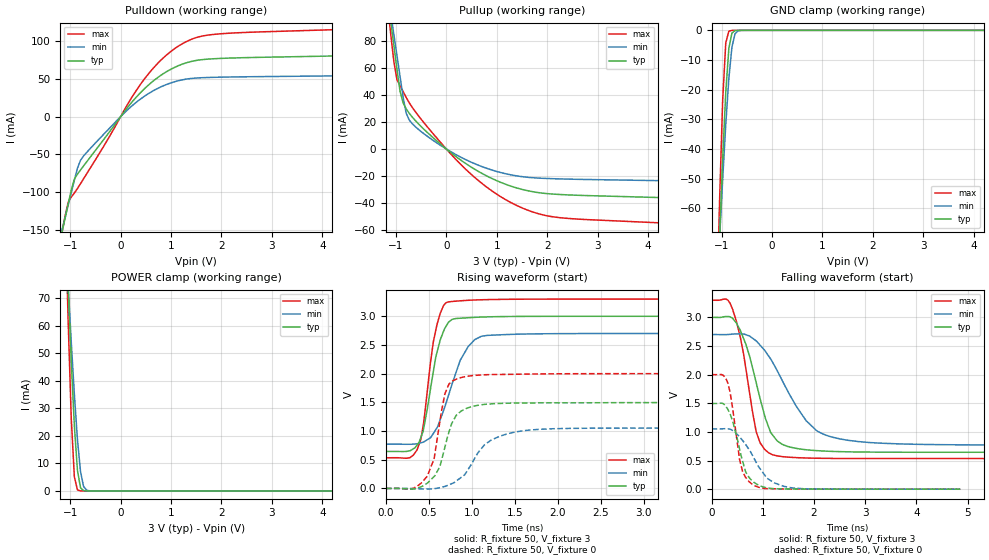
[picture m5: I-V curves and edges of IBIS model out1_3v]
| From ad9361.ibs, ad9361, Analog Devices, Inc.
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|   Model: output1_3v
[Model]   out1_3v
Model_type  3-state
Vref=0
Vmeas=1.5
Rref=1G
Cref=3pF
|variable   typ   min   max
C_comp_pullup   3.792659E-13 3.351496E-13 3.953579E-13
C_comp_pulldown   2.633588E-13 2.582497E-13 3.611850E-13
[C Comp Corner]
C_comp_pullup   3.351496E-13 3.953579E-13 3.792659E-13
C_comp_pulldown   2.582497E-13 3.611850E-13 2.633588E-13
[Temperature Range]   25   85   -40
[Voltage Range]   3   2.7   3.3
[Power Clamp Reference] 3   2.7   3.3
[GND Clamp Reference]   0   0   0
[Pullup Reference]   3   2.7   3.3
[Pulldown Reference]   0   0   0
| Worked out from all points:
|   slope of the pulldown table from 0 to 0.45 V, typ, clamps not added: 12.7 ohm
|   slope of the pullup table from 0 to 0.45 V, typ, clamps not added: 36.4 ohm
|   GND clamp passes 1 mA (typ) near -0.80 V on its own axis
|   POWER clamp passes 1 mA (typ) near -0.79 V on its own axis
|   rising waveform, R_fixture 50, V_fixture 3: 20-80 % time 174ps typ, 274ps min, 146ps max; typ from 0.644 V to 3 V
|   falling waveform, R_fixture 50, V_fixture 3: 20-80 % time 431ps typ, 770ps min, 318ps max; typ from 3 V to 0.644 V
|   rising waveform, R_fixture 50, V_fixture 0: 20-80 % time 191ps typ, 333ps min, 150ps max; typ from 0 V to 1.5 V
|   falling waveform, R_fixture 50, V_fixture 0: 20-80 % time 259ps typ, 453ps min, 202ps max; typ from 1.5 V to 0 V
[Power clamp]
| Voltage   I(typ)   I(min)   I(max)
-3V       1.104A     823mA      1.61A
-1.102V   102.5mA    95.63mA    102.8mA
-1.041V   73.82mA    74.41mA    61.44mA
-979.6mV  46.96mA    54.05mA    26.38mA
-918.4mV  23.69mA    35.11mA    5.159mA
-857.1mV  7.513mA    18.75mA    345.2uA
-795.9mV  1.163mA    7.029mA    17.01uA
-734.7mV  119uA      1.569mA    820.7nA
-673.5mV  11.31uA    243uA      39.55nA
-612.2mV  1.066uA    34.02uA    1.907nA
6V        -12pA      -12.07pA   -12pA
[GND Clamp]
| Voltage   I(typ)   I(min)   I(max)
-3V       -1.098A    -817.6mA   -1.603A
-1.102V   -98.03mA   -91.33mA   -98.16mA
-1.041V   -69.63mA   -70.31mA   -57.42mA
-979.6mV  -43.27mA   -50.24mA   -23.53mA
-918.4mV  -20.89mA   -31.77mA   -4.219mA
-857.1mV  -6.136mA   -16.19mA   -280.7uA
-795.9mV  -904.6uA   -5.639mA   -14.61uA
-734.7mV  -95.05uA   -1.188mA   -747.9nA
-673.5mV  -9.441uA   -185.5uA   -38.25nA
-612.2mV  -932.1nA   -26.87uA   -1.957nA
6V        12pA       11.93pA    12pA
[Pullup]
| Voltage   I(typ)   I(min)   I(max)
-3V       637mA      576.8mA    728mA
-1.163V   111.7mA    115.4mA    105.5mA
-1.102V   94.13mA    100mA      84.67mA
-1.041V   76.56mA    84.62mA    64.57mA
-979.6mV  59.01mA    69.21mA    51.36mA
-918.4mV  42.7mA     53.67mA    46.8mA
-795.9mV  29.68mA    26.39mA    38.07mA
-673.5mV  23.51mA    18.61mA    30.71mA
428.6mV   -11.84mA   -8.65mA    -16.54mA
1.469V    -29.58mA   -20.3mA    -43.05mA
2.388V    -33.92mA   -22.26mA   -51.29mA
6V        -37.73mA   -24.48mA   -57.6mA
[Pulldown]
| Voltage   I(typ)   I(min)   I(max)
-3V       -696.7mA   -623.4mA   -802.9mA
-1.163V   -153.4mA   -149.8mA   -153.7mA
-1.041V   -115.8mA   -117.2mA   -113.6mA
-918.4mV  -82.92mA   -84.32mA   -101.2mA
-857.1mV  -76.2mA    -68.38mA   -95.3mA
-734.7mV  -65.27mA   -52.07mA   -82.23mA
61.22mV   5.564mA    4.135mA    7.423mA
489.8mV   38.07mA    27.82mA    51.46mA
918.4mV   59.85mA    42.82mA    82.11mA
1.347V    72.2mA     50.17mA    100.8mA
2.143V    77.55mA    52.5mA     110.5mA
6V        82.5mA     55.17mA    118.8mA
[Rising Waveform]
R_fixture = 50
V_fixture = 3
V_fixture_min = 2.7
V_fixture_max = 3.3
| time   V(typ)   V(min)   V(max)
0s        644.4mV    770.9mV    534.8mV
279.2ps   657mV      769.9mV    535.8mV
362.6ps   755.8mV    778.4mV    671.8mV
441.4ps   1.057V     810.4mV    1.166V
552.2ps   2.037V     958.4mV    2.556V
631.1ps   2.58V      1.194V     3.047V
712.9ps   2.858V     1.549V     3.245V
864.1ps   2.966V     2.232V     3.269V
1.112ns   2.986V     2.652V     3.288V
4.097ns   3V         2.7V       3.3V
[Falling Waveform]
R_fixture = 50
V_fixture = 3
V_fixture_min = 2.7
V_fixture_max = 3.3
| time   V(typ)   V(min)   V(max)
0s        3V         2.7V       3.3V
280ps     3.015V     2.7V       3.32V
410.2ps   2.983V     2.708V     3.144V
566ps     2.762V     2.712V     2.636V
871.1ps   1.86V      2.589V     1.003V
1.05ns    1.241V     2.409V     684.6mV
1.189ns   948.6mV    2.221V     601.2mV
1.849ns   687.9mV    1.193V     544.4mV
2.347ns   659.9mV    910.9mV    537.2mV
7.265ns   644.3mV    770.7mV    534.7mV
[Rising Waveform]
R_fixture = 50
V_fixture = 0
V_fixture_min = 0
V_fixture_max = 0
| time   V(typ)   V(min)   V(max)
0s        96.67uV    81.01uV    116uV
321ps     -10.05mV   -2.329mV   4.713mV
480.8ps   91.64mV    -10.04mV   212.1mV
560.8ps   208.3mV    -3.237mV   514.4mV
686.8ps   720.2mV    35.09mV    1.65V
765ps     1.13V      82.7mV     1.859V
870.3ps   1.341V     186.6mV    1.931V
1.145ns   1.465V     758.2mV    1.98V
1.52ns    1.488V     988.1mV    1.99V
5.015ns   1.496V     1.052V     2V
[Falling Waveform]
R_fixture = 50
V_fixture = 0
V_fixture_min = 0
V_fixture_max = 0
| time   V(typ)   V(min)   V(max)
0s        1.496V     1.052V     2V
318.9ps   1.39V      1.054V     1.852V
412.3ps   1.189V     1.025V     1.406V
547ps     701.2mV    912.7mV    518.8mV
605.2ps   493mV      850.9mV    311mV
671.5ps   292.3mV    773.5mV    198.3mV
849.3ps   106.2mV    505.1mV    57.75mV
1.08ns    23.89mV    193.9mV    9.795mV
1.575ns   3.006mV    21.47mV    2.209mV
4.854ns   -15.49uV   22.54uV    -9.957uV
[Ramp]
| variable   typ   min   max
dV/dt_r  0.897653/1.91E-10   0.631458/3.33E-10   1.200259/1.5E-10
dV/dt_f  1.413377/4.31E-10   1.157457/7.7E-10   1.659164/3.18E-10
R_load = 50
|   End of [Model]: output1_3v
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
